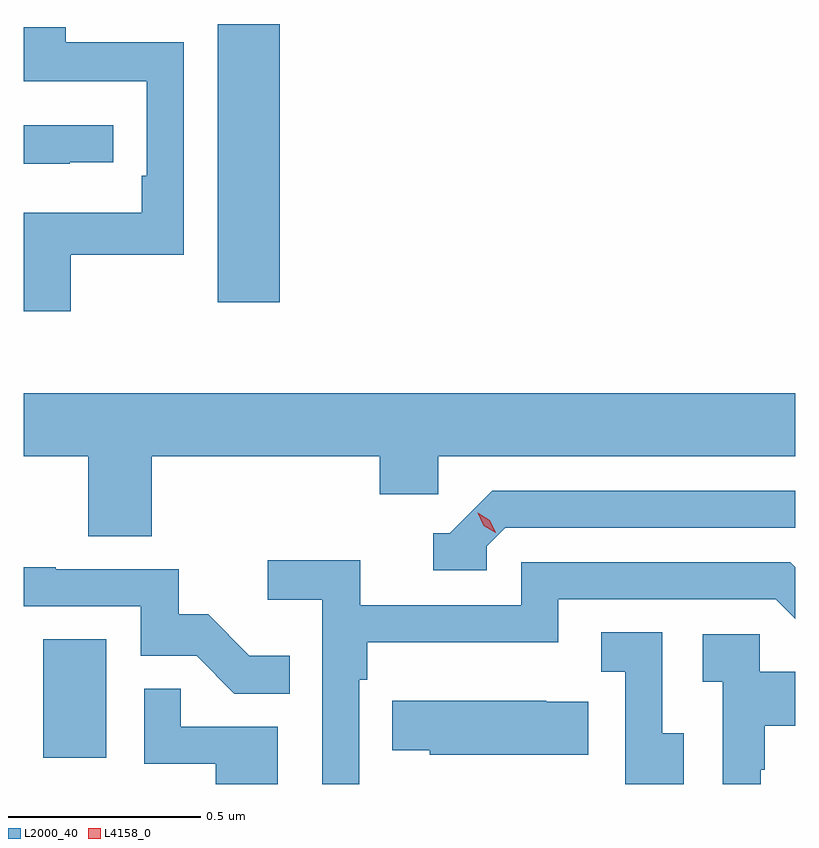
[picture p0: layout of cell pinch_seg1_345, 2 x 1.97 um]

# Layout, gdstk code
import gdstk
lib = gdstk.Library(unit=1e-6, precision=1e-09)
def R(c, l, rs):  # rectangles x0, y0, x1, y1
    for r in rs: c.add(gdstk.rectangle(r[:2], r[2:], *l))
def P(c, l, *ps):  # polygons
    for p in ps: c.add(gdstk.Polygon(p, *l))
L2000_40 = (2000, 40)
L4158_0 = (4158, 0)

pinch_seg1_345 = lib.new_cell('pinch_seg1_345')
R(pinch_seg1_345, L2000_40, [(970.07,558.942,970.234,559.249), (970.523,560.124,970.684,560.845)])
P(pinch_seg1_345, L2000_40, [(970.141,560.247),(970.434,560.247),(970.434,560.798),(970.129,560.798),(970.129,560.836),(970.02,560.836),(970.02,560.696),(970.025,560.696),(970.025,560.697),(970.338,560.697),(970.338,560.452),(970.325,560.452),(970.325,560.356),(970.02,560.356),(970.02,560.1),(970.141,560.1)],
  [(970.139,560.487),(970.252,560.487),(970.252,560.583),(970.02,560.583),(970.02,560.482),(970.139,560.482)],
  [(970.352,559.724),(970.943,559.724),(970.943,559.626),(971.094,559.626),(971.094,559.724),(972.02,559.724),(972.02,559.888),(970.02,559.888),(970.02,559.724),(970.187,559.724),(970.187,559.516),(970.352,559.516)],
  [(971.22,559.491),(971.268,559.539),(972.02,559.539),(972.02,559.635),(971.235,559.635),(971.124,559.524),(971.081,559.524),(971.081,559.428),(971.22,559.428)],
  [(970.89,559.145),(970.91,559.145),(970.91,559.241),(971.406,559.241),(971.406,559.353),(971.97,559.353),(972.02,559.303),(972.02,559.436),(972.007,559.449),(971.31,559.449),(971.31,559.338),(970.892,559.338),(970.892,559.454),(970.653,559.454),(970.653,559.352),(970.794,559.352),(970.794,558.874),(970.89,558.874)],
  [(970.709,559.207),(970.605,559.207),(970.498,559.314),(970.422,559.314),(970.422,559.431),(970.103,559.431),(970.103,559.436),(970.02,559.436),(970.02,559.335),(970.323,559.335),(970.323,559.206),(970.468,559.206),(970.566,559.108),(970.709,559.108)],
  [(971.731,559.005),(971.676,559.005),(971.676,559.268),(971.517,559.268),(971.517,559.165),(971.58,559.165),(971.58,558.874),(971.731,558.874)],
  [(971.931,558.911),(971.941,558.911),(971.941,559.025),(972.02,559.025),(972.02,559.165),(971.928,559.165),(971.928,559.263),(971.781,559.263),(971.781,559.139),(971.832,559.139),(971.832,558.874),(971.931,558.874)],
  [(970.678,559.023),(970.427,559.023),(970.427,559.121),(970.332,559.121),(970.332,558.927),(970.517,558.927),(970.517,558.874),(970.678,558.874)],
  [(971.483,559.087),(971.375,559.087),(971.375,559.09),(970.975,559.09),(970.975,558.961),(971.073,558.961),(971.073,558.95),(971.483,558.95)])
P(pinch_seg1_345, L4158_0, [(971.244,559.525),(971.213,559.544),(971.197,559.577),(971.197,559.577),(971.197,559.577),(971.228,559.558),(971.244,559.526),(971.244,559.525)])

lib.write_gds('pinch_seg1_345.gds')
